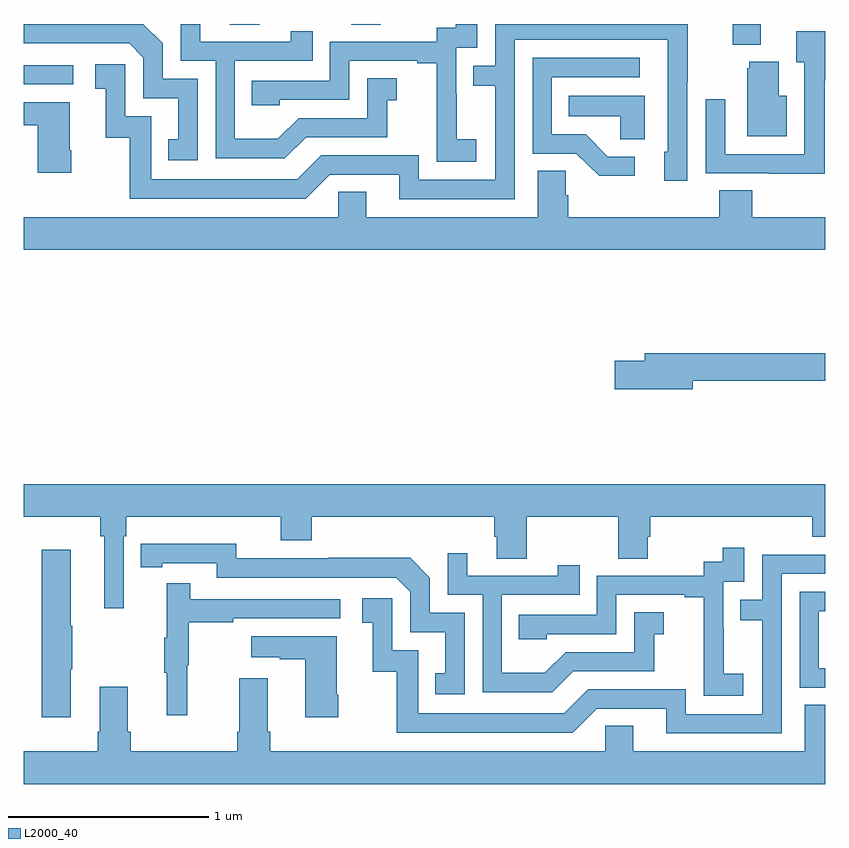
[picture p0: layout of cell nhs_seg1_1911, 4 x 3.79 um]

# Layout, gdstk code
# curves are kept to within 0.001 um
import gdstk
lib = gdstk.Library(unit=1e-6, precision=1e-09)
def R(c, l, rs):  # rectangles x0, y0, x1, y1
    for r in rs: c.add(gdstk.rectangle(r[:2], r[2:], *l))
def P(c, l, *ps):  # polygons
    for p in ps: c.add(gdstk.Polygon(p, *l))
L2000_40 = (2000, 40)

nhs_seg1_1911 = lib.new_cell('nhs_seg1_1911')
R(nhs_seg1_1911, L2000_40, [(215,545.898,215.248,545.994), (218.537,546.095,218.677,546.199), (216.029,546.196,216.177,546.199), (216.634,546.196,216.781,546.199)])
P(nhs_seg1_1911, L2000_40, [(216.409,545.634),(216.813,545.634),(216.813,545.819),(216.862,545.819),(216.862,545.929),(216.714,545.929),(216.714,545.73),(216.372,545.73),(216.268,545.626),(216.054,545.626),(216.054,546.015),(216.443,546.015),(216.443,546.163),(216.332,546.163),(216.332,546.111),(215.881,546.111),(215.881,546.199),(215.784,546.199),(215.784,546.015),(215.958,546.015),(215.958,545.529),(216.304,545.529)],
  [(217.449,546.12),(218.214,546.12),(218.214,545.562),(218.195,545.562),(218.195,545.418),(218.31,545.418),(218.31,545.911),(218.313,545.911),(218.313,546.199),(217.353,546.199),(217.353,545.991),(217.243,545.991),(217.243,545.89),(217.353,545.89),(217.353,545.421),(216.972,545.421),(216.972,545.544),(216.486,545.544),(216.366,545.424),(215.637,545.424),(215.637,545.739),(215.508,545.739),(215.508,545.998),(215.358,545.998),(215.358,545.877),(215.411,545.877),(215.411,545.631),(215.529,545.631),(215.529,545.328),(216.408,545.328),(216.528,545.448),(216.875,545.448),(216.875,545.325),(217.449,545.325)],
  [(215.868,545.925),(215.694,545.925),(215.694,546.102),(215.597,546.199),(215,546.198),(215,546.102),(215.526,546.102),(215.598,546.03),(215.598,545.829),(215.771,545.829),(215.771,545.625),(215.722,545.625),(215.722,545.52),(215.868,545.52)],
  [(217.258,545.623),(217.16,545.623),(217.16,545.852),(217.158,545.852),(217.158,546.081),(217.263,546.081),(217.263,546.199),(217.155,546.199),(217.155,546.18),(217.062,546.18),(217.062,546.111),(216.528,546.111),(216.528,545.916),(216.139,545.916),(216.139,545.793),(216.279,545.793),(216.279,545.82),(216.624,545.82),(216.624,546.015),(216.965,546.015),(216.965,546.003),(217.061,546.003),(217.061,545.719),(217.06,545.719),(217.06,545.513),(217.258,545.513)],
  [(218.996,545.918),(219,545.918),(219,546.163),(218.855,546.163),(218.855,546.007),(218.895,546.007),(218.895,545.55),(218.499,545.55),(218.499,545.824),(218.403,545.824),(218.403,545.454),(218.719,545.454),(218.719,545.453),(218.996,545.453)],
  [(218.05,545.538),(217.915,545.538),(217.804,545.649),(217.635,545.649),(217.635,545.934),(218.074,545.934),(218.074,546.03),(217.539,546.03),(217.539,545.553),(217.758,545.553),(217.871,545.441),(218.05,545.441)],
  [(218.806,545.842),(218.767,545.842),(218.767,546.01),(218.621,546.01),(218.621,545.979),(218.609,545.979),(218.609,545.639),(218.806,545.639)],
  [(218.098,545.842),(217.72,545.842),(217.72,545.738),(217.977,545.738),(217.977,545.623),(218.098,545.623)],
  [(215.238,545.569),(215.23,545.569),(215.23,545.809),(215,545.809),(215,545.695),(215.072,545.695),(215.072,545.457),(215.238,545.457)],
  [(217.704,545.345),(217.704,545.468),(217.565,545.468),(217.565,545.236),(216.709,545.236),(216.709,545.363),(216.57,545.363),(216.57,545.236),(215,545.236),(215,545.072),(219,545.072),(219,545.236),(218.636,545.236),(218.636,545.369),(218.471,545.369),(218.471,545.236),(217.718,545.236),(217.718,545.345)],
  [(218.338,544.42),(219,544.42),(219,544.556),(218.099,544.556),(218.099,544.52),(217.95,544.52),(217.95,544.378),(218.338,544.378)],
  [(215.499,543.644),(215.513,543.644),(215.513,543.74),(216.284,543.74),(216.284,543.623),(216.437,543.623),(216.437,543.74),(217.349,543.74),(217.349,543.642),(217.361,543.642),(217.361,543.532),(217.509,543.532),(217.509,543.74),(217.966,543.74),(217.966,543.532),(218.113,543.532),(218.113,543.642),(218.126,543.642),(218.126,543.74),(218.933,543.74),(218.933,543.641),(219,543.641),(219,543.904),(215,543.904),(215,543.74),(215.383,543.74),(215.383,543.644),(215.402,543.644),(215.402,543.285),(215.499,543.285)],
  [(217.2,543.261),(217.026,543.261),(217.026,543.438),(216.928,543.536),(216.52,543.536),(216.52,543.534),(216.06,543.534),(216.06,543.607),(215.584,543.606),(215.584,543.49),(215.692,543.49),(215.692,543.51),(215.964,543.51),(215.964,543.438),(216.858,543.438),(216.93,543.366),(216.93,543.165),(217.103,543.165),(217.103,542.961),(217.054,542.961),(217.054,542.856),(217.2,542.856)],
  [(218.59,542.959),(218.492,542.959),(218.492,543.188),(218.49,543.188),(218.49,543.417),(218.595,543.417),(218.595,543.586),(218.487,543.586),(218.487,543.516),(218.394,543.516),(218.394,543.447),(217.86,543.447),(217.86,543.252),(217.471,543.252),(217.471,543.129),(217.611,543.129),(217.611,543.156),(217.956,543.156),(217.956,543.351),(218.297,543.351),(218.297,543.339),(218.393,543.339),(218.393,543.055),(218.392,543.055),(218.392,542.849),(218.59,542.849)],
  [(215.236,542.98),(215.244,542.98),(215.244,543.197),(215.236,543.197),(215.236,543.577),(215.09,543.577),(215.09,542.742),(215.236,542.742)],
  [(217.741,542.97),(218.145,542.97),(218.145,543.155),(218.194,543.155),(218.194,543.265),(218.046,543.265),(218.046,543.066),(217.704,543.066),(217.6,542.962),(217.386,542.962),(217.386,543.351),(217.775,543.351),(217.775,543.499),(217.664,543.499),(217.664,543.447),(217.213,543.447),(217.213,543.559),(217.116,543.559),(217.116,543.351),(217.29,543.351),(217.29,542.865),(217.636,542.865)],
  [(218.781,543.456),(219,543.456),(219,543.552),(218.685,543.552),(218.685,543.327),(218.575,543.327),(218.575,543.226),(218.685,543.226),(218.685,542.757),(218.304,542.757),(218.304,542.88),(217.818,542.88),(217.698,542.76),(216.969,542.76),(216.969,543.075),(216.84,543.075),(216.84,543.334),(216.69,543.334),(216.69,543.213),(216.743,543.213),(216.743,542.967),(216.861,542.967),(216.861,542.664),(217.74,542.664),(217.86,542.784),(218.207,542.784),(218.207,542.661),(218.781,542.661)],
  [(215.816,543),(215.824,543),(215.824,543.214),(216.047,543.214),(216.047,543.234),(216.58,543.234),(216.58,543.33),(215.831,543.33),(215.831,543.409),(215.714,543.409),(215.714,543.137),(215.703,543.137),(215.703,542.963),(215.714,542.963),(215.714,542.751),(215.816,542.751)],
  [(219,542.985),(218.967,542.985),(218.967,543.27),(219,543.27),(219,543.366),(218.871,543.366),(218.871,542.889),(219,542.889)],
  [(216.57,542.854),(216.562,542.854),(216.562,543.145),(216.135,543.145),(216.135,543.041),(216.278,543.041),(216.278,543.031),(216.404,543.031),(216.404,542.742),(216.57,542.742)],
  [(216.217,542.668),(216.217,542.935),(216.077,542.935),(216.077,542.668),(216.065,542.668),(216.065,542.572),(215.534,542.572),(215.534,542.668),(215.521,542.668),(215.521,542.893),(215.381,542.893),(215.381,542.668),(215.369,542.668),(215.369,542.572),(215,542.572),(215,542.408),(219,542.408),(219,542.804),(218.897,542.804),(218.897,542.572),(218.041,542.572),(218.041,542.699),(217.902,542.699),(217.902,542.572),(216.23,542.572),(216.23,542.668)])

lib.write_gds('nhs_seg1_1911.gds')
